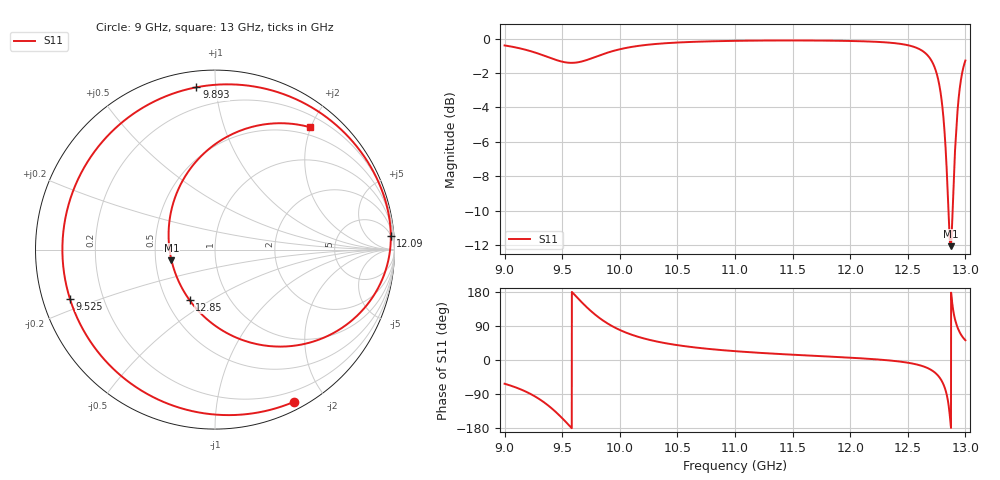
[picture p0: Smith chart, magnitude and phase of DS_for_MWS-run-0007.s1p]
! TOUCHSTONE file generated by CST DESIGN STUDIO
! Date and time: Tue Feb  4 13:24:53 2025
! Project name: C:\Work\MatlabApps\UnitCellOptimizationMatlab\CST\unitcell.cst
! Tree item: Tasks\Sweep1\SPara1\S-Parameters
! Header version: 2024
! Port assignment regex: !\s*Touchstone port\s*([0-9]+)\s*=\s*(CST MWS port|CST DES external port|CST DES block port)\s*(.+)\s* \(\"(.*)\"\)(\s*mode\s*([0-9]+))?.*
! Touchstone port assignment:
! Touchstone port 1 = CST DES external port 1 ("")
# GHz S MA R 50
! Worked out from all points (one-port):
!   4001 points, 9 GHz to 13 GHz, reference 50 ohm
!   lowest |S11| = -12.1 dB at 12.87 GHz (marker M1), VSWR 1.67, Z = 30.3 - j3.83 ohm
!   |S11| at or under -10 dB: 12.85286 GHz to 12.88918 GHz (36.32 MHz wide, 0.282 % of centre)
!   S11 on the Smith chart (normalised r, x): 9 GHz: 0.08, -1.64; 9.525 GHz: 0.08, -0.16; 9.893 GHz: 0.08, +0.89; 12.09 GHz: 6, +24; 12.85 GHz: 0.65, -0.41; 13 GHz: 0.37, +1.99
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9  0.9554 -62.6
9.151  0.9338 -78.9
9.301  0.9025 -103.1
9.403  0.8772 -126.1
9.5  0.8569 -153.5
9.525  0.8536 -161.3
9.621  0.852 167.7
9.727  0.8697 135.3
9.806  0.8893 114.9
9.893  0.9102 96.6
10  0.9312 79.2
10.217  0.9577 56.2
10.5  0.9741 39.2
11  0.9852 23.3
11.5  0.9877 14.0
12  0.9843 6.1
12.093  0.9826 4.5
12.5  0.9569 -7.1
12.64  0.9147 -17.4
12.726  0.8361 -30.9
12.768  0.7495 -43.2
12.806  0.6067 -62.0
12.853  0.3154 -116.7
12.871  0.2497 -166.3
12.897  0.3717 126.1
12.93  0.6066 87.3
12.959  0.7504 68.4
13  0.8637 52.1
